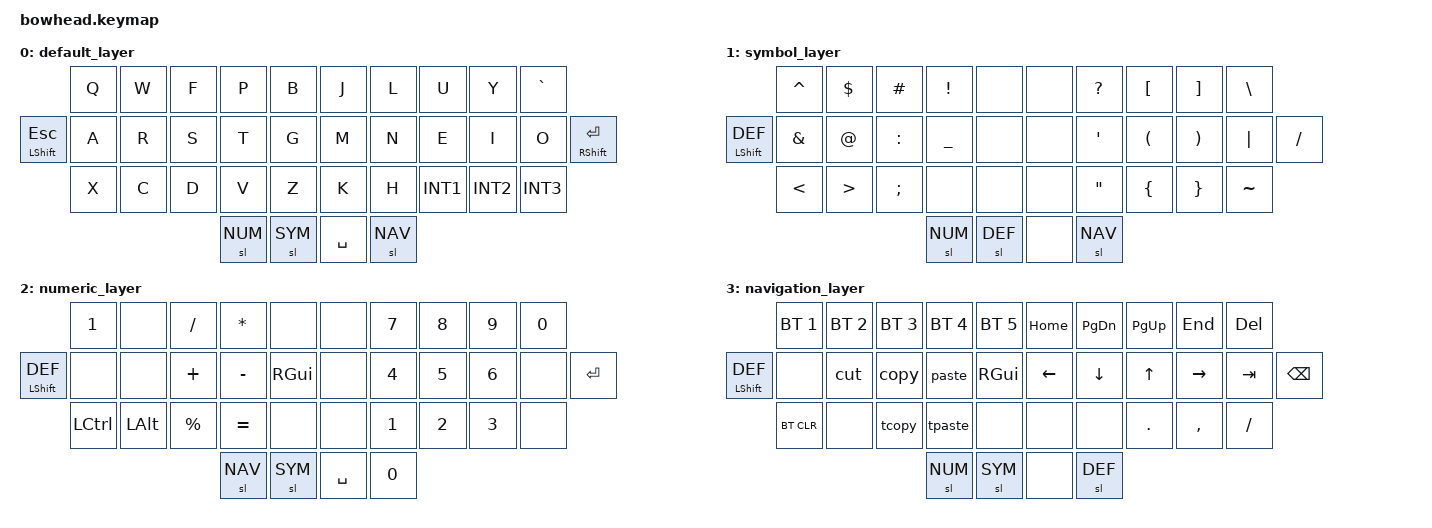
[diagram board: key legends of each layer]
#include <behaviors.dtsi>
#include <dt-bindings/zmk/keys.h>
#include <dt-bindings/zmk/bt.h>

/* Layers */
#define DEF 0
#define SYM 1
#define NUM 2
#define NAV 3

/ {

macros {

	cut: cut {
	label = "cut"; compatible = "zmk,behavior-macro"; #binding-cells = <0>;
	bindings
		= <&macro_press &kp LCTRL>
		, <&macro_tap &kp X>
		, <&macro_release &kp LCTRL>
		;
	};

	copy: copy {
	label = "copy"; compatible = "zmk,behavior-macro"; #binding-cells = <0>;
	bindings
		= <&macro_press &kp LCTRL>
		, <&macro_tap &kp C>
		, <&macro_release &kp LCTRL>
		;
	};

	tcopy: tcopy {
	label = "tcopy"; compatible = "zmk,behavior-macro"; #binding-cells = <0>;
	bindings
		= <&macro_press &kp LCTRL>
		, <&macro_press &kp LSHIFT>
		, <&macro_tap &kp C>
		, <&macro_release &kp LCTRL>
		, <&macro_release &kp LSHIFT>
		;
	};

	paste: paste {
	label = "paste"; compatible = "zmk,behavior-macro"; #binding-cells = <0>;
	bindings
		= <&macro_press &kp LCTRL>
		, <&macro_tap &kp V>
		, <&macro_release &kp LCTRL>
		;
	};

	tpaste: tpaste {
	label = "tpaste"; compatible = "zmk,behavior-macro"; #binding-cells = <0>;
	bindings
		= <&macro_press &kp LCTRL>
		, <&macro_press &kp LSHIFT>
		, <&macro_tap &kp V>
		, <&macro_release &kp LCTRL>
		, <&macro_release &kp LSHIFT>
		;
	};

};

keymap {
	compatible = "zmk,keymap";

	default_layer {
// def
// -------------------------------------------------------------     --------------------------------------------------------------
//           |    Q    |    W    |    F    |    P    |    B    |     |    J    |    L    |    U    |    Y    |    `    |
// |SHIFT/ESC|    A    |    R    |    S    |    T    |    G    |     |    M    |    N    |    E    |    I    |    O    | SHIFT/RETURN |
//           |    X    |    C    |    D    |    V    |    Z    |     |    K    |    H    |    AO   |    AE   |    OE   |
//                                         |   NUM   |   SYM   |     |  SPACE  |   NAV   |
    bindings = <
              &kp Q     &kp W     &kp F     &kp P     &kp B           &kp J     &kp L     &kp U     &kp Y     &kp GRAVE
&mt LSHIFT ESC &kp A    &kp R     &kp S     &kp T     &kp G           &kp M     &kp N     &kp E     &kp I     &kp O     &mt RSHIFT RET
              &kp X     &kp C     &kp D     &kp V     &kp Z           &kp K     &kp H     &kp INT1  &kp INT2  &kp INT3
                                        &sl NUM       &sl SYM         &kp SPACE &sl NAV
    >;
  };

        symbol_layer {
// sym
// -------------------------------------------------------------     --------------------------------------------------------------
//           |    ^    |    $    |    #    |    !    |         |     |         |    ?    |    [    |    ]    |    \    |
// |  SHIFT  |    &    |    @    |    :    |    _    |         |     |         |    '    |    (    |    )    |    |    |    /   |
//           |    <    |    >    |    ;    |         |         |     |         |    "    |    {    |    }    |    ~    |
//                                         |   NUM   |  DEF    |     |         |   NAV   |
            bindings = <
              &kp CARET &kp DLLR  &kp HASH  &kp EXCL  &none           &none     &kp QMARK &kp LBKT  &kp RBKT  &kp BSLH
   &mt LSHIFT DEF &kp AMPS &kp AT &kp COLON &kp UNDER &none           &none     &kp APOS  &kp LPAR  &kp RPAR  &kp PIPE  &kp FSLH
              &kp LT    &kp GT    &kp SEMI  &none     &none           &none     &kp DQT   &kp LBRC  &kp RBRC  &kp TILDE
                                            &sl NUM   &sl DEF         &none     &sl NAV
            >;
        };

        numeric_layer {
// num
// -------------------------------------------------------------     --------------------------------------------------------------
//           |         |         |    /    |    *    |         |     |         |    7    |    8    |    9    |    0    |
// |  SHIFT  |         |         |    +    |    -    |   GUI   |     |         |    4    |    5    |    6    |         |  RETURN   |
//           |  CTRL   |   ALT   |    %    |    =    |         |     |         |    1    |    2    |    3    |         |
//                                         |   DEF   |   SYM   |     |  SPACE  |    0    |
            bindings = <
              &kp N1    &none     &kp FSLH  &kp STAR  &none           &none     &kp N7    &kp N8    &kp N9    &kp N0
   &mt LSHIFT DEF &none &none     &kp PLUS  &kp MINUS &kp RGUI        &none     &kp N4    &kp N5    &kp N6    &none     &kp RET
              &kp LCTRL &kp LALT  &kp PRCNT &kp EQUAL &none           &none     &kp N1    &kp N2    &kp N3    &none
                                            &sl NAV   &sl SYM         &kp SPACE &kp N0
            >;
        };

        navigation_layer {

// nav
// -------------------------------------------------------------     --------------------------------------------------------------
//           |   BT 1  |   BT 2  |   BT 3  |   BT 4  |   BT 5  |     |  HOME   |  PGDN   |   PGUP  |  END    |   DEL   |
// |  SHIFT  |         |   cut   |  copy   |  paste  |   GUI   |     |  LEFT   |  DOWN   |    UP   |  RIGHT  |   TAB   |   BSPC   |
//           | BT CLR  |         |  tcopy  | tpaste  |         |     |         |         |    .    |    ,    |    /    |
//                                         |  NUM    |   SYM   |     |         |  DEF    |
            bindings = <
     &bt BT_SEL 1 &bt BT_SEL 2 &bt BT_SEL 3 &bt BT_SEL 4 &bt BT_SEL 5 &kp HOME  &kp PG_DN &kp PG_UP &kp END    &kp DEL
   &mt LSHIFT DEF &none &cut      &copy     &paste    &kp RGUI        &kp LEFT  &kp DOWN  &kp UP    &kp RIGHT  &kp TAB   &kp BSPC
              &bt BT_CLR &none    &tcopy    &tpaste   &none           &none     &none     &kp DOT   &kp COMMA  &kp FSLH
                                            &sl NUM   &sl SYM         &none     &sl DEF
            >;

            /* sensor-bindings = <&inc_dec_kp C_VOL_UP C_VOL_DN &inc_dec_kp PG_UP PG_DN>; */
        };
    };
};
